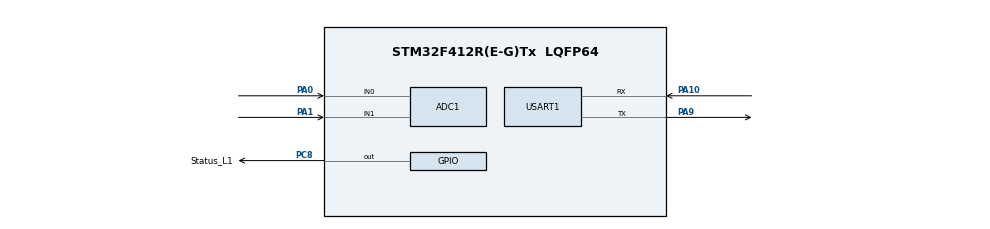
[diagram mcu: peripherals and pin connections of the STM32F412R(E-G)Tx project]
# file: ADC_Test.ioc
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ADC1.Channel-0\#ChannelRegularConversion=ADC_CHANNEL_0
ADC1.Channel-1\#ChannelInjectedConversion=ADC_CHANNEL_0
ADC1.Channel-2\#ChannelInjectedConversion=ADC_CHANNEL_0
ADC1.InjNumberOfConversion=2
ADC1.InjectedConvMode=None
ADC1.InjectedOffset-1\#ChannelInjectedConversion=0
ADC1.InjectedOffset-2\#ChannelInjectedConversion=0
ADC1.InjectedRank-1\#ChannelInjectedConversion=1
ADC1.InjectedRank-2\#ChannelInjectedConversion=2
ADC1.NbrOfConversionFlag=1
ADC1.Rank-0\#ChannelRegularConversion=1
ADC1.SamplingTime-0\#ChannelRegularConversion=ADC_SAMPLETIME_3CYCLES
ADC1.SamplingTime-1\#ChannelInjectedConversion=ADC_SAMPLETIME_3CYCLES
ADC1.SamplingTime-2\#ChannelInjectedConversion=ADC_SAMPLETIME_3CYCLES
ADC1.master=1
Mcu.Family=STM32F4
Mcu.Name=STM32F412R(E-G)Tx
Mcu.Package=LQFP64
NVIC.PriorityGroup=NVIC_PRIORITYGROUP_4
NVIC.TIM6_IRQn=true\:0\:0\:false\:false\:true\:true\:true\:true
PA0.Signal=ADCx_IN0
PA1.Signal=ADCx_IN1
PA10.Mode=Asynchronous
PA10.Signal=USART1_RX
PA9.Mode=Asynchronous
PA9.Signal=USART1_TX
PC14-OSC32_IN.Mode=LSE-External-Oscillator
PC14-OSC32_IN.Signal=RCC_OSC32_IN
PC15-OSC32_OUT.Mode=LSE-External-Oscillator
PC15-OSC32_OUT.Signal=RCC_OSC32_OUT
PC8.GPIO_Label=Status_L1
PC8.PinState=GPIO_PIN_RESET
PC8.Signal=GPIO_Output
PH0\ -\ OSC_IN.Mode=HSE-External-Oscillator
PH0\ -\ OSC_IN.Signal=RCC_OSC_IN
PH1\ -\ OSC_OUT.Mode=HSE-External-Oscillator
PH1\ -\ OSC_OUT.Signal=RCC_OSC_OUT
ProjectManager.HeapSize=0x200
ProjectManager.StackSize=0x400
ProjectManager.TargetToolchain=STM32CubeIDE
RCC.CortexFreq_Value=16000000
RCC.HSE_VALUE=16000000
RCC.USBFreq_Value=96000000
RCC.VCOOutputFreq_Value=192000000
SH.ADCx_IN0.0=ADC1_IN0,IN0
SH.ADCx_IN1.0=ADC1_IN1,IN1
TIM6.AutoReloadPreload=TIM_AUTORELOAD_PRELOAD_ENABLE
TIM6.Period=5333
TIM6.Prescaler=1500
USART1.VirtualMode=VM_ASYNC
VP_RTC_VS_RTC_Activate.Mode=RTC_Enabled
VP_TIM6_VS_ClockSourceINT.Mode=Enable_Timer
board=custom

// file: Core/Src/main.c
/* USER CODE BEGIN Header */
/**
  ******************************************************************************
  * @file           : main.c
  * @brief          : Main program body
  ******************************************************************************
  * @attention
  *
  * Copyright (c) 2023 STMicroelectronics.
  * All rights reserved.
  *
  * This software is licensed under terms that can be found in the LICENSE file
  * in the root directory of this software component.
  * If no LICENSE file comes with this software, it is provided AS-IS.
  *
  ******************************************************************************
  */
/* USER CODE END Header */
#include "main.h"

/* USER CODE BEGIN Includes */
#include <stdio.h>
#include <string.h>
/* USER CODE END Includes */

ADC_HandleTypeDef hadc1;

RTC_HandleTypeDef hrtc;

TIM_HandleTypeDef htim6;

UART_HandleTypeDef huart1;

void SystemClock_Config(void);
static void MX_GPIO_Init(void);
static void MX_ADC1_Init(void);
static void MX_RTC_Init(void);
static void MX_TIM6_Init(void);
static void MX_USART1_UART_Init(void);
/* USER CODE BEGIN PFP */
uint32_t ADC_Selector(uint8_t Channel, ADC_HandleTypeDef* hadc)
{
	ADC_ChannelConfTypeDef sConfig = {};
	sConfig.SamplingTime = ADC_SAMPLETIME_3CYCLES;
	switch (Channel)
	{
	case 0:
		sConfig.Channel = ADC_CHANNEL_0;
		sConfig.Rank = 1;
		if (HAL_ADC_ConfigChannel(hadc,&sConfig) != HAL_OK)
			return -1;
		break;
	case 1:
		sConfig.Channel = ADC_CHANNEL_1;
		sConfig.Rank = 1;
		if (HAL_ADC_ConfigChannel(hadc,&sConfig) != HAL_OK)
			return -1;
		break;
	}
	HAL_ADC_Start(hadc);
	HAL_ADC_PollForConversion(hadc,HAL_MAX_DELAY);
	uint32_t Measurment = HAL_ADC_GetValue(hadc);
	HAL_ADC_Stop(hadc);
	return Measurment;
}
/* USER CODE END PFP */

/* USER CODE BEGIN 0 */
uint32_t Measurment;
  char auxSTR[100];
/* USER CODE END 0 */

int main(void)
{

  /* MCU Configuration--------------------------------------------------------*/

  /* Reset of all peripherals, Initializes the Flash interface and the Systick. */
  HAL_Init();

  /* Configure the system clock */
  SystemClock_Config();

  /* Initialize all configured peripherals */
  MX_GPIO_Init();
  MX_ADC1_Init();
  MX_RTC_Init();
  MX_TIM6_Init();
  MX_USART1_UART_Init();
  /* USER CODE BEGIN 2 */
  HAL_UART_Init(&huart1);
  HAL_TIM_Base_Start_IT(&htim6);

  /* USER CODE END 2 */

  /* Infinite loop */
  while (1)
  {

  }
}

void SystemClock_Config(void)
{
  RCC_OscInitTypeDef RCC_OscInitStruct = {0};
  RCC_ClkInitTypeDef RCC_ClkInitStruct = {0};

  /** Configure the main internal regulator output voltage
  */
  __HAL_RCC_PWR_CLK_ENABLE();
  __HAL_PWR_VOLTAGESCALING_CONFIG(PWR_REGULATOR_VOLTAGE_SCALE1);

  /** Initializes the RCC Oscillators according to the specified parameters
  * in the RCC_OscInitTypeDef structure.
  */
  RCC_OscInitStruct.OscillatorType = RCC_OSCILLATORTYPE_HSI|RCC_OSCILLATORTYPE_LSI;
  RCC_OscInitStruct.LSEState = RCC_LSE_ON;
  RCC_OscInitStruct.HSIState = RCC_HSI_ON;
  RCC_OscInitStruct.HSICalibrationValue = RCC_HSICALIBRATION_DEFAULT;
  RCC_OscInitStruct.LSIState = RCC_LSI_ON;
  RCC_OscInitStruct.PLL.PLLState = RCC_PLL_NONE;
  if (HAL_RCC_OscConfig(&RCC_OscInitStruct) != HAL_OK)
  {
    Error_Handler();
  }

  /** Initializes the CPU, AHB and APB buses clocks
  */
  RCC_ClkInitStruct.ClockType = RCC_CLOCKTYPE_HCLK|RCC_CLOCKTYPE_SYSCLK
                              |RCC_CLOCKTYPE_PCLK1|RCC_CLOCKTYPE_PCLK2;
  RCC_ClkInitStruct.SYSCLKSource = RCC_SYSCLKSOURCE_HSI;
  RCC_ClkInitStruct.AHBCLKDivider = RCC_SYSCLK_DIV1;
  RCC_ClkInitStruct.APB1CLKDivider = RCC_HCLK_DIV1;
  RCC_ClkInitStruct.APB2CLKDivider = RCC_HCLK_DIV1;

  if (HAL_RCC_ClockConfig(&RCC_ClkInitStruct, FLASH_LATENCY_0) != HAL_OK)
  {
    Error_Handler();
  }
}

static void MX_ADC1_Init(void)
{

  ADC_ChannelConfTypeDef sConfig = {0};
  ADC_InjectionConfTypeDef sConfigInjected = {0};

  /** Configure the global features of the ADC (Clock, Resolution, Data Alignment and number of conversion)
  */
  hadc1.Instance = ADC1;
  hadc1.Init.ClockPrescaler = ADC_CLOCK_SYNC_PCLK_DIV2;
  hadc1.Init.Resolution = ADC_RESOLUTION_12B;
  hadc1.Init.ScanConvMode = ENABLE;
  hadc1.Init.ContinuousConvMode = DISABLE;
  hadc1.Init.DiscontinuousConvMode = DISABLE;
  hadc1.Init.ExternalTrigConvEdge = ADC_EXTERNALTRIGCONVEDGE_NONE;
  hadc1.Init.ExternalTrigConv = ADC_SOFTWARE_START;
  hadc1.Init.DataAlign = ADC_DATAALIGN_RIGHT;
  hadc1.Init.NbrOfConversion = 1;
  hadc1.Init.DMAContinuousRequests = DISABLE;
  hadc1.Init.EOCSelection = ADC_EOC_SINGLE_CONV;
  if (HAL_ADC_Init(&hadc1) != HAL_OK)
  {
    Error_Handler();
  }

  /** Configure for the selected ADC regular channel its corresponding rank in the sequencer and its sample time.
  */
  sConfig.Channel = ADC_CHANNEL_0;
  sConfig.Rank = 1;
  sConfig.SamplingTime = ADC_SAMPLETIME_3CYCLES;
  if (HAL_ADC_ConfigChannel(&hadc1, &sConfig) != HAL_OK)
  {
    Error_Handler();
  }

  /** Configures for the selected ADC injected channel its corresponding rank in the sequencer and its sample time
  */
  sConfigInjected.InjectedChannel = ADC_CHANNEL_0;
  sConfigInjected.InjectedRank = 1;
  sConfigInjected.InjectedNbrOfConversion = 2;
  sConfigInjected.InjectedSamplingTime = ADC_SAMPLETIME_3CYCLES;
  sConfigInjected.ExternalTrigInjecConvEdge = ADC_EXTERNALTRIGINJECCONVEDGE_NONE;
  sConfigInjected.ExternalTrigInjecConv = ADC_INJECTED_SOFTWARE_START;
  sConfigInjected.AutoInjectedConv = DISABLE;
  sConfigInjected.InjectedDiscontinuousConvMode = DISABLE;
  sConfigInjected.InjectedOffset = 0;
  if (HAL_ADCEx_InjectedConfigChannel(&hadc1, &sConfigInjected) != HAL_OK)
  {
    Error_Handler();
  }

  /** Configures for the selected ADC injected channel its corresponding rank in the sequencer and its sample time
  */
  sConfigInjected.InjectedRank = 2;
  if (HAL_ADCEx_InjectedConfigChannel(&hadc1, &sConfigInjected) != HAL_OK)
  {
    Error_Handler();
  }

}

static void MX_RTC_Init(void)
{

  /** Initialize RTC Only
  */
  hrtc.Instance = RTC;
  hrtc.Init.HourFormat = RTC_HOURFORMAT_24;
  hrtc.Init.AsynchPrediv = 127;
  hrtc.Init.SynchPrediv = 255;
  hrtc.Init.OutPut = RTC_OUTPUT_DISABLE;
  hrtc.Init.OutPutPolarity = RTC_OUTPUT_POLARITY_HIGH;
  hrtc.Init.OutPutType = RTC_OUTPUT_TYPE_OPENDRAIN;
  if (HAL_RTC_Init(&hrtc) != HAL_OK)
  {
    Error_Handler();
  }

}

static void MX_TIM6_Init(void)
{

  TIM_MasterConfigTypeDef sMasterConfig = {0};

  htim6.Instance = TIM6;
  htim6.Init.Prescaler = 1500;
  htim6.Init.CounterMode = TIM_COUNTERMODE_UP;
  htim6.Init.Period = 5333;
  htim6.Init.AutoReloadPreload = TIM_AUTORELOAD_PRELOAD_ENABLE;
  if (HAL_TIM_Base_Init(&htim6) != HAL_OK)
  {
    Error_Handler();
  }
  sMasterConfig.MasterOutputTrigger = TIM_TRGO_RESET;
  sMasterConfig.MasterSlaveMode = TIM_MASTERSLAVEMODE_DISABLE;
  if (HAL_TIMEx_MasterConfigSynchronization(&htim6, &sMasterConfig) != HAL_OK)
  {
    Error_Handler();
  }

}

static void MX_USART1_UART_Init(void)
{

  huart1.Instance = USART1;
  huart1.Init.BaudRate = 115200;
  huart1.Init.WordLength = UART_WORDLENGTH_8B;
  huart1.Init.StopBits = UART_STOPBITS_1;
  huart1.Init.Parity = UART_PARITY_NONE;
  huart1.Init.Mode = UART_MODE_TX_RX;
  huart1.Init.HwFlowCtl = UART_HWCONTROL_NONE;
  huart1.Init.OverSampling = UART_OVERSAMPLING_16;
  if (HAL_UART_Init(&huart1) != HAL_OK)
  {
    Error_Handler();
  }

}

static void MX_GPIO_Init(void)
{
  GPIO_InitTypeDef GPIO_InitStruct = {0};

  /* GPIO Ports Clock Enable */
  __HAL_RCC_GPIOC_CLK_ENABLE();
  __HAL_RCC_GPIOH_CLK_ENABLE();
  __HAL_RCC_GPIOA_CLK_ENABLE();

  /*Configure GPIO pin Output Level */
  HAL_GPIO_WritePin(Status_L1_GPIO_Port, Status_L1_Pin, GPIO_PIN_RESET);

  /*Configure GPIO pin : Status_L1_Pin */
  GPIO_InitStruct.Pin = Status_L1_Pin;
  GPIO_InitStruct.Mode = GPIO_MODE_OUTPUT_PP;
  GPIO_InitStruct.Pull = GPIO_NOPULL;
  GPIO_InitStruct.Speed = GPIO_SPEED_FREQ_LOW;
  HAL_GPIO_Init(Status_L1_GPIO_Port, &GPIO_InitStruct);

}

/* USER CODE BEGIN 4 */
void HAL_TIM_PeriodElapsedCallback(TIM_HandleTypeDef* htim)
{
	char auxSTR[100];
	sprintf(auxSTR,"Number Read: %d",ADC_Selector(0,&hadc1));
	HAL_UART_Transmit(&huart1,(uint8_t* )auxSTR,strlen(auxSTR),1000);
	HAL_GPIO_TogglePin(Status_L1_GPIO_Port,Status_L1_Pin);
}
/* USER CODE END 4 */

void Error_Handler(void)
{
  __disable_irq();
  while (1)
  {
  }
}
